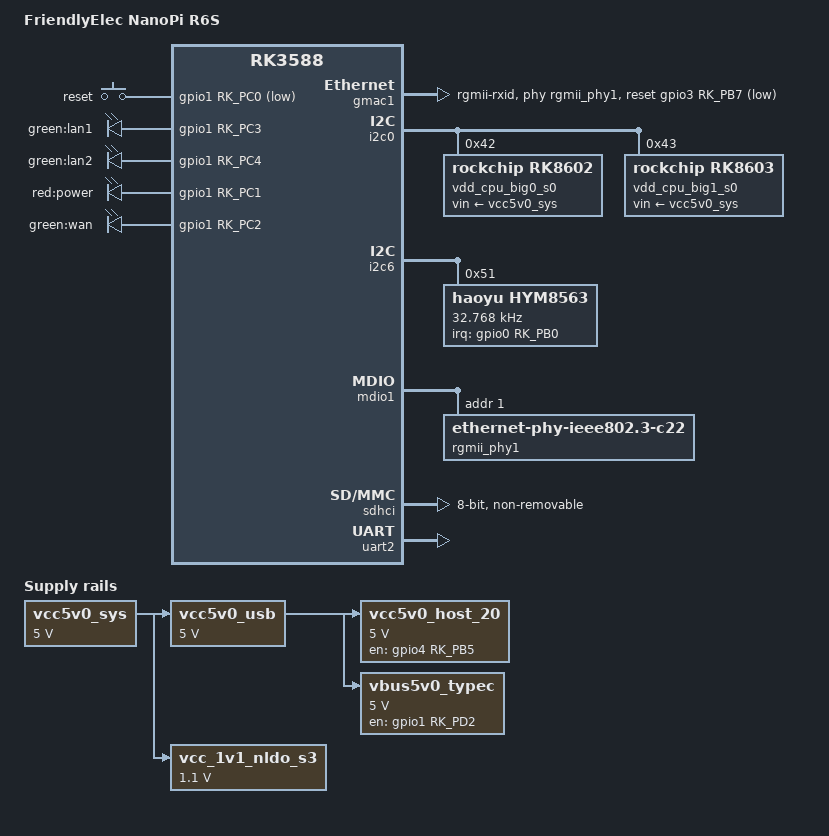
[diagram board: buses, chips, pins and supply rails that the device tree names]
// SPDX-License-Identifier: GPL-2.0-or-later OR MIT
/*
 * Copyright (c) 2021 Rockchip Electronics Co., Ltd.
 *
 * Copyright (c) 2022 FriendlyElec Computer Tech. Co., Ltd.
 * (http://www.friendlyelec.com)
 *
 * Copyright (c) 2023 Tianling Shen <cnsztl@gmail.com>
 */

/dts-v1/;

#include <dt-bindings/gpio/gpio.h>
#include <dt-bindings/input/input.h>
#include <dt-bindings/leds/common.h>
#include <dt-bindings/pinctrl/rockchip.h>
#include "rk3588s.dtsi"

/ {
	model = "FriendlyElec NanoPi R6S";
	compatible = "friendlyarm,nanopi-r6s", "rockchip,rk3588";

	aliases {
		ethernet0 = &gmac1;
		mmc0 = &sdmmc;
		mmc2 = &sdhci;
		serial2 = &uart2;
	};

	gpio-keys {
		compatible = "gpio-keys";
		pinctrl-names = "default";
		pinctrl-0 = <&reset_button_pin>;

		button-reset {
			debounce-interval = <50>;
			gpios = <&gpio1 RK_PC0 GPIO_ACTIVE_LOW>;
			label = "reset";
			linux,code = <KEY_RESTART>;
		};
	};

	gpio-leds {
		compatible = "gpio-leds";
		pinctrl-names = "default";
		pinctrl-0 = <&lan1_led_pin>, <&lan2_led_pin>, <&power_led_pin>, <&wan_led_pin>;

		led-lan1 {
			label = "green:lan1";
			gpios = <&gpio1 RK_PC3 GPIO_ACTIVE_HIGH>;
		};

		led-lan2 {
			label = "green:lan2";
			gpios = <&gpio1 RK_PC4 GPIO_ACTIVE_HIGH>;
		};

		power_led: led-power {
			label = "red:power";
			gpios = <&gpio1 RK_PC1 GPIO_ACTIVE_HIGH>;
		};

		led-wan {
			label = "green:wan";
			gpios = <&gpio1 RK_PC2 GPIO_ACTIVE_HIGH>;
		};
	};

	chosen {
		stdout-path = "serial2:1500000n8";
	};

	vcc5v0_sys: vcc5v0-sys-regulator {
		compatible = "regulator-fixed";
		regulator-name = "vcc5v0_sys";
		regulator-always-on;
		regulator-boot-on;
		regulator-min-microvolt = <5000000>;
		regulator-max-microvolt = <5000000>;
	};

	vcc5v0_usb: vcc5v0-usb-regulator {
		compatible = "regulator-fixed";
		regulator-name = "vcc5v0_usb";
		regulator-always-on;
		regulator-boot-on;
		regulator-min-microvolt = <5000000>;
		regulator-max-microvolt = <5000000>;
		vin-supply = <&vcc5v0_sys>;
	};

	vcc5v0_host_20: vcc5v0-host-20-regulator {
		compatible = "regulator-fixed";
		enable-active-high;
		gpio = <&gpio4 RK_PB5 GPIO_ACTIVE_HIGH>;
		pinctrl-names = "default";
		pinctrl-0 = <&vcc5v0_host20_en>;
		regulator-name = "vcc5v0_host_20";
		regulator-min-microvolt = <5000000>;
		regulator-max-microvolt = <5000000>;
		vin-supply = <&vcc5v0_usb>;
	};

	vcc_1v1_nldo_s3: vcc-1v1-nldo-s3-regulator {
		compatible = "regulator-fixed";
		regulator-name = "vcc_1v1_nldo_s3";
		regulator-always-on;
		regulator-boot-on;
		regulator-min-microvolt = <1100000>;
		regulator-max-microvolt = <1100000>;
		vin-supply = <&vcc5v0_sys>;
	};

	vbus5v0_typec: vbus5v0-typec-regulator {
		compatible = "regulator-fixed";
		enable-active-high;
		gpio = <&gpio1 RK_PD2 GPIO_ACTIVE_HIGH>;
		pinctrl-names = "default";
		pinctrl-0 = <&vbus5v0_typec_en>;
		regulator-name = "vbus5v0_typec";
		regulator-min-microvolt = <5000000>;
		regulator-max-microvolt = <5000000>;
		vin-supply = <&vcc5v0_usb>;
	};
};

&gmac1 {
	clock_in_out = "output";
	phy-handle = <&rgmii_phy1>;
	phy-mode = "rgmii-rxid";
	pinctrl-names = "default";
	pinctrl-0 = <&gmac1_miim
		     &gmac1_tx_bus2
		     &gmac1_rx_bus2
		     &gmac1_rgmii_clk
		     &gmac1_rgmii_bus>;
	snps,reset-gpio = <&gpio3 RK_PB7 GPIO_ACTIVE_LOW>;
	snps,reset-active-low;
	/* Reset time is 20ms, 100ms for rtl8211f */
	snps,reset-delays-us = <0 20000 100000>;
	tx_delay = <0x42>;
	/* rx_delay = <0x4f>; */
	status = "okay";
};

&i2c0 {
	pinctrl-names = "default";
	pinctrl-0 = <&i2c0m2_xfer>;
	status = "okay";

	vdd_cpu_big0_s0: vdd_cpu_big0_mem_s0: regulator@42 {
		compatible = "rockchip,rk8602";
		reg = <0x42>;
		fcs,suspend-voltage-selector = <1>;
		regulator-name = "vdd_cpu_big0_s0";
		regulator-always-on;
		regulator-boot-on;
		regulator-min-microvolt = <550000>;
		regulator-max-microvolt = <1050000>;
		regulator-ramp-delay = <2300>;
		vin-supply = <&vcc5v0_sys>;

		regulator-state-mem {
			regulator-off-in-suspend;
		};
	};

	vdd_cpu_big1_s0: vdd_cpu_big1_mem_s0: regulator@43 {
		compatible = "rockchip,rk8603", "rockchip,rk8602";
		reg = <0x43>;
		fcs,suspend-voltage-selector = <1>;
		regulator-name = "vdd_cpu_big1_s0";
		regulator-always-on;
		regulator-boot-on;
		regulator-min-microvolt = <550000>;
		regulator-max-microvolt = <1050000>;
		regulator-ramp-delay = <2300>;
		vin-supply = <&vcc5v0_sys>;

		regulator-state-mem {
			regulator-off-in-suspend;
		};
	};
};

&i2c6 {
	status = "okay";

	hym8563: rtc@51 {
		compatible = "haoyu,hym8563";
		reg = <0x51>;
		#clock-cells = <0>;
		clock-frequency = <32768>;
		clock-output-names = "hym8563";
		pinctrl-names = "default";
		pinctrl-0 = <&hym8563_int>;
		interrupt-parent = <&gpio0>;
		interrupts = <RK_PB0 IRQ_TYPE_LEVEL_LOW>;
		wakeup-source;
	};
};

&mdio1 {
	rgmii_phy1: ethernet-phy@1 {
		compatible = "ethernet-phy-ieee802.3-c22";
		reg = <1>;
	};
};

&pinctrl {
	gpio-leds {
		lan1_led_pin: lan1-led-pin {
			rockchip,pins = <1 RK_PC3 RK_FUNC_GPIO &pcfg_pull_none>;
		};

		lan2_led_pin: lan2-led-pin {
			rockchip,pins = <1 RK_PC4 RK_FUNC_GPIO &pcfg_pull_none>;
		};

		power_led_pin: power-led-pin {
			rockchip,pins = <1 RK_PC1 RK_FUNC_GPIO &pcfg_pull_none>;
		};

		wan_led_pin: wan-led-pin {
			rockchip,pins = <1 RK_PC2 RK_FUNC_GPIO &pcfg_pull_none>;
		};
	};

	hym8563 {
		hym8563_int: hym8563-int {
			rockchip,pins = <0 RK_PB0 RK_FUNC_GPIO &pcfg_pull_up>;
		};
	};

	rockchip-key {
		reset_button_pin: reset-button-pin {
			rockchip,pins = <1 RK_PC0 RK_FUNC_GPIO &pcfg_pull_up>;
		};
	};

	sdmmc {
		vcc3v3_sd_en: vcc3v3-sd-en {
			rockchip,pins = <4 RK_PB4 RK_FUNC_GPIO &pcfg_pull_up>;
		};
	};

	usb {
		vbus5v0_typec_en: vbus5v0-typec-en {
			rockchip,pins = <1 RK_PD2 RK_FUNC_GPIO &pcfg_pull_none>;
		};

		vcc5v0_host20_en: vcc5v0-host20-en {
			rockchip,pins = <4 RK_PB5 RK_FUNC_GPIO &pcfg_pull_none>;
		};
	};
};

&sdhci {
	bus-width = <8>;
	cap-mmc-highspeed;
	max-frequency = <200000000>;
	mmc-hs200-1_8v;
	no-sdio;
	no-sd;
	non-removable;
	status = "okay";
};

&uart2 {
	pinctrl-0 = <&uart2m0_xfer>;
	status = "okay";
};
